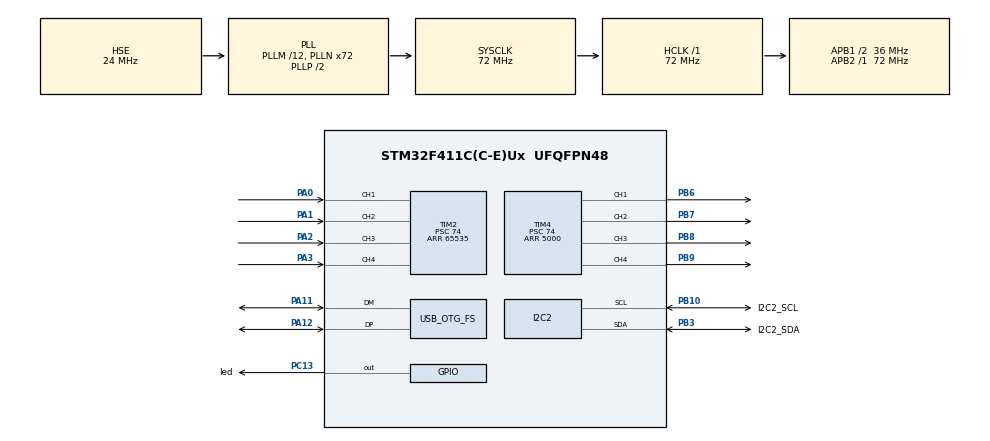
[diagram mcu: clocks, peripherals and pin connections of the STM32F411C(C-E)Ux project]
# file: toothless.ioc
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I2C2.I2C_Mode=I2C_Fast
Mcu.Family=STM32F4
Mcu.Name=STM32F411C(C-E)Ux
Mcu.Package=UFQFPN48
NVIC.OTG_FS_IRQn=true\:0\:0\:false\:false\:true\:false\:true
NVIC.PriorityGroup=NVIC_PRIORITYGROUP_4
NVIC.TIM2_IRQn=true\:0\:0\:false\:false\:true\:true\:true
PA0-WKUP.Signal=S_TIM2_CH1_ETR
PA1.Signal=S_TIM2_CH2
PA11.Mode=Device_Only
PA11.Signal=USB_OTG_FS_DM
PA12.Mode=Device_Only
PA12.Signal=USB_OTG_FS_DP
PA2.Signal=S_TIM2_CH3
PA3.Signal=S_TIM2_CH4
PB10.GPIO_Label=I2C2_SCL
PB10.GPIO_Pu=GPIO_PULLUP
PB10.Mode=I2C
PB10.Signal=I2C2_SCL
PB3.GPIO_Label=I2C2_SDA
PB3.GPIO_Pu=GPIO_PULLUP
PB3.Mode=I2C
PB3.Signal=I2C2_SDA
PB6.Signal=S_TIM4_CH1
PB7.Signal=S_TIM4_CH2
PB8.Signal=S_TIM4_CH3
PB9.Signal=S_TIM4_CH4
PC13-ANTI_TAMP.GPIO_Label=led
PC13-ANTI_TAMP.Signal=GPIO_Output
PH0\ -\ OSC_IN.Mode=HSE-External-Oscillator
PH0\ -\ OSC_IN.Signal=RCC_OSC_IN
PH1\ -\ OSC_OUT.Mode=HSE-External-Oscillator
PH1\ -\ OSC_OUT.Signal=RCC_OSC_OUT
ProjectManager.HeapSize=0x200
ProjectManager.StackSize=0x400
ProjectManager.TargetToolchain=STM32CubeIDE
RCC.48MHZClocksFreq_Value=48000000
RCC.AHBFreq_Value=72000000
RCC.APB1CLKDivider=RCC_HCLK_DIV2
RCC.APB1Freq_Value=36000000
RCC.APB1TimFreq_Value=72000000
RCC.APB2Freq_Value=72000000
RCC.APB2TimFreq_Value=72000000
RCC.CortexFreq_Value=72000000
RCC.HCLKFreq_Value=72000000
RCC.HSE_VALUE=24000000
RCC.HSI_VALUE=16000000
RCC.LSE_VALUE=32768
RCC.PLLM=12
RCC.PLLN=72
RCC.PLLQ=3
RCC.SYSCLKFreq_VALUE=72000000
RCC.SYSCLKSource=RCC_SYSCLKSOURCE_PLLCLK
RCC.VCOOutputFreq_Value=144000000
SH.S_TIM2_CH1_ETR.0=TIM2_CH1,Input_Capture1_from_TI1
SH.S_TIM2_CH2.0=TIM2_CH2,Input_Capture2_from_TI2
SH.S_TIM2_CH3.0=TIM2_CH3,Input_Capture3_from_TI3
SH.S_TIM2_CH4.0=TIM2_CH4,Input_Capture4_from_TI4
SH.S_TIM4_CH1.0=TIM4_CH1,PWM Generation1 CH1
SH.S_TIM4_CH2.0=TIM4_CH2,PWM Generation2 CH2
SH.S_TIM4_CH3.0=TIM4_CH3,PWM Generation3 CH3
SH.S_TIM4_CH4.0=TIM4_CH4,PWM Generation4 CH4
TIM2.Channel-Input_Capture1_from_TI1=TIM_CHANNEL_1
TIM2.Channel-Input_Capture2_from_TI2=TIM_CHANNEL_2
TIM2.Channel-Input_Capture3_from_TI3=TIM_CHANNEL_3
TIM2.Channel-Input_Capture4_from_TI4=TIM_CHANNEL_4
TIM2.Period=65535
TIM2.Prescaler=74
TIM2.TIM_MasterOutputTrigger=TIM_TRGO_RESET
TIM4.Channel-PWM\ Generation1\ CH1=TIM_CHANNEL_1
TIM4.Channel-PWM\ Generation2\ CH2=TIM_CHANNEL_2
TIM4.Channel-PWM\ Generation3\ CH3=TIM_CHANNEL_3
TIM4.Channel-PWM\ Generation4\ CH4=TIM_CHANNEL_4
TIM4.Period=5000
TIM4.Prescaler=74
TIM4.Pulse-PWM\ Generation1\ CH1=1000
TIM4.Pulse-PWM\ Generation2\ CH2=1000
TIM4.Pulse-PWM\ Generation3\ CH3=1000
TIM4.Pulse-PWM\ Generation4\ CH4=1000
USB_DEVICE.CLASS_NAME_FS=CDC
USB_DEVICE.VirtualMode=Cdc
USB_DEVICE.VirtualModeFS=Cdc_FS
USB_OTG_FS.VirtualMode=Device_Only
VP_USB_DEVICE_VS_USB_DEVICE_CDC_FS.Mode=CDC_FS
board=custom

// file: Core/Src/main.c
/* USER CODE BEGIN Header */
/**
 ******************************************************************************
 * @file           : main.c
 * @brief          : Main program body
 ******************************************************************************
 * @attention
 *
 * <h2><center>&copy; Copyright (c) 2021 STMicroelectronics.
 * All rights reserved.</center></h2>
 *
 * This software component is licensed by ST under BSD 3-Clause license,
 * the "License"; You may not use this file except in compliance with the
 * License. You may obtain a copy of the License at:
 *                        opensource.org/licenses/BSD-3-Clause
 *
 ******************************************************************************
 */
/* USER CODE END Header */
#include "main.h"
#include "usb_device.h"

/* USER CODE BEGIN Includes */
#include "stdio.h"
#include "usbd_cdc_if.h"
#include "string.h"
#include "mpu6050.h"
#include "math.h"
/* USER CODE END Includes */

I2C_HandleTypeDef hi2c2;

TIM_HandleTypeDef htim2;
TIM_HandleTypeDef htim4;

/* USER CODE BEGIN PV */
const float pid_p_gain_roll = 1.0;               //Gain setting for the pitch and roll P-controller (default = 1.3).
const float pid_i_gain_roll = 0.02;              //Gain setting for the pitch and roll I-controller (default = 0.04).
const float pid_d_gain_roll = 10.0;              //Gain setting for the pitch and roll D-controller (default = 18.0).
const int16_t pid_max_roll = 400;                    //Maximum output of the PID-controller (+/-).

float pid_p_gain_pitch = pid_p_gain_roll;  //Gain setting for the pitch P-controller.
float pid_i_gain_pitch = pid_i_gain_roll;  //Gain setting for the pitch I-controller.
float pid_d_gain_pitch = pid_d_gain_roll;  //Gain setting for the pitch D-controller.
int16_t pid_max_pitch = pid_max_roll;          //Maximum output of the PID-controller (+/-).

float pid_p_gain_yaw = 3.0;                //Gain setting for the pitch P-controller (default = 4.0).
float pid_i_gain_yaw = 0.02;               //Gain setting for the pitch I-controller (default = 0.02).
float pid_d_gain_yaw = 0.0;                //Gain setting for the pitch D-controller (default = 0.0).
int16_t pid_max_yaw = 400;                     //Maximum output of the PID-controller (+/-).

int16_t channel_1_start = 0;
int16_t channel_1 = 0;
uint8_t channel_1_captured = 0;
int16_t channel_2_start = 0;
int16_t channel_2 = 0;
uint8_t channel_2_captured = 0;
int16_t channel_3_start = 0;
int16_t channel_3 = 0;
uint8_t channel_3_captured = 0;
int16_t channel_4_start = 0;
int16_t channel_4 = 0;
uint8_t channel_4_captured = 0;
uint8_t start;

uint32_t loop_timer;
int16_t esc_1, esc_2, esc_3, esc_4;
int16_t throttle;

int32_t acc_total_vector;
float roll_level_adjust, pitch_level_adjust;
float pid_error_temp;
float pid_i_mem_roll, pid_roll_setpoint, gyro_roll_input, pid_output_roll, pid_last_roll_d_error;
float pid_i_mem_pitch, pid_pitch_setpoint, gyro_pitch_input, pid_output_pitch, pid_last_pitch_d_error;
float pid_i_mem_yaw, pid_yaw_setpoint, gyro_yaw_input, pid_output_yaw, pid_last_yaw_d_error;
float angle_roll_acc, angle_pitch_acc, angle_pitch, angle_roll;
float battery_voltage;
/* USER CODE END PV */

void SystemClock_Config(void);
static void MX_GPIO_Init(void);
static void MX_I2C2_Init(void);
static void MX_TIM2_Init(void);
static void MX_TIM4_Init(void);

/* USER CODE BEGIN 0 */
uint32_t micros(void) {
	uint32_t m0 = HAL_GetTick();
	uint32_t u0 = SysTick->LOAD - SysTick->VAL;
	uint32_t m1 = HAL_GetTick();
	uint32_t u1 = SysTick->LOAD - SysTick->VAL;
	if (m1 > m0) {
		return ( m1 * 1000 + (u1 * 1000) / SysTick->LOAD);
	} else {
		return ( m0 * 1000 + (u0 * 1000) / SysTick->LOAD);
	}
}

int _write(int file, char *ptr, int len) {
	CDC_Transmit_FS((uint8_t*) ptr, len); return len;
}

void calculate_pid(void){
	//Roll calculations
	pid_error_temp = gyro_roll_input - pid_roll_setpoint;
	pid_i_mem_roll += pid_i_gain_roll * pid_error_temp;
	if(pid_i_mem_roll > pid_max_roll)pid_i_mem_roll = pid_max_roll;
	else if(pid_i_mem_roll < pid_max_roll * -1)pid_i_mem_roll = pid_max_roll * -1;

	pid_output_roll = pid_p_gain_roll * pid_error_temp + pid_i_mem_roll + pid_d_gain_roll * (pid_error_temp - pid_last_roll_d_error);
	if(pid_output_roll > pid_max_roll)pid_output_roll = pid_max_roll;
	else if(pid_output_roll < pid_max_roll * -1)pid_output_roll = pid_max_roll * -1;

	pid_last_roll_d_error = pid_error_temp;

	//Pitch calculations
	pid_error_temp = gyro_pitch_input - pid_pitch_setpoint;
	pid_i_mem_pitch += pid_i_gain_pitch * pid_error_temp;
	if(pid_i_mem_pitch > pid_max_pitch)pid_i_mem_pitch = pid_max_pitch;
	else if(pid_i_mem_pitch < pid_max_pitch * -1)pid_i_mem_pitch = pid_max_pitch * -1;

	pid_output_pitch = pid_p_gain_pitch * pid_error_temp + pid_i_mem_pitch + pid_d_gain_pitch * (pid_error_temp - pid_last_pitch_d_error);
	if(pid_output_pitch > pid_max_pitch)pid_output_pitch = pid_max_pitch;
	else if(pid_output_pitch < pid_max_pitch * -1)pid_output_pitch = pid_max_pitch * -1;

	pid_last_pitch_d_error = pid_error_temp;

	//Yaw calculations
	pid_error_temp = gyro_yaw_input - pid_yaw_setpoint;
	pid_i_mem_yaw += pid_i_gain_yaw * pid_error_temp;
	if(pid_i_mem_yaw > pid_max_yaw)pid_i_mem_yaw = pid_max_yaw;
	else if(pid_i_mem_yaw < pid_max_yaw * -1)pid_i_mem_yaw = pid_max_yaw * -1;

	pid_output_yaw = pid_p_gain_yaw * pid_error_temp + pid_i_mem_yaw + pid_d_gain_yaw * (pid_error_temp - pid_last_yaw_d_error);
	if(pid_output_yaw > pid_max_yaw)pid_output_yaw = pid_max_yaw;
	else if(pid_output_yaw < pid_max_yaw * -1)pid_output_yaw = pid_max_yaw * -1;

	pid_last_yaw_d_error = pid_error_temp;
}

/* USER CODE END 0 */

int main(void)
{

  /* MCU Configuration--------------------------------------------------------*/

  /* Reset of all peripherals, Initializes the Flash interface and the Systick. */
  HAL_Init();

  /* Configure the system clock */
  SystemClock_Config();

  /* Initialize all configured peripherals */
  MX_GPIO_Init();
  MX_I2C2_Init();
  MX_TIM2_Init();
  MX_TIM4_Init();
  MX_USB_DEVICE_Init();
  /* USER CODE BEGIN 2 */
	HAL_TIM_IC_Start_IT(&htim2, TIM_CHANNEL_1);
	HAL_TIM_IC_Start_IT(&htim2, TIM_CHANNEL_2);
	HAL_TIM_IC_Start_IT(&htim2, TIM_CHANNEL_3);
	HAL_TIM_IC_Start_IT(&htim2, TIM_CHANNEL_4);

	HAL_TIM_PWM_Start(&htim4, TIM_CHANNEL_1);
	HAL_TIM_PWM_Start(&htim4, TIM_CHANNEL_2);
	HAL_TIM_PWM_Start(&htim4, TIM_CHANNEL_3);
	HAL_TIM_PWM_Start(&htim4, TIM_CHANNEL_4);

	HAL_Delay(5000);
	gyro_setup(&hi2c2);
	HAL_GPIO_WritePin(led_GPIO_Port, led_Pin, GPIO_PIN_RESET);

	loop_timer = micros();
  /* USER CODE END 2 */

  /* Infinite loop */
  /* USER CODE BEGIN WHILE */
	while (1) {
		//printf("channel_1 = %d", channel_1);
		//printf(" channel_2 = %d", channel_2);
		//printf(" channel_3 = %d", channel_3);
		//printf(" channel_4 = %d\n", channel_4);
		gyro_read(&hi2c2);

		//65.5 = 1 deg/sec (check the datasheet of the MPU-6050 for more information).
		gyro_roll_input = (gyro_roll_input * 0.7) + (((float)gyro_roll / 65.5) * 0.3);   //Gyro pid input is deg/sec.
		gyro_pitch_input = (gyro_pitch_input * 0.7) + (((float)gyro_pitch / 65.5) * 0.3);//Gyro pid input is deg/sec.
		gyro_yaw_input = (gyro_yaw_input * 0.7) + (((float)gyro_yaw / 65.5) * 0.3);      //Gyro pid input is deg/sec.

		//Gyro angle calculations
		//0.0000611 = 1 / (250Hz / 65.5)
		angle_pitch += (float)gyro_pitch * 0.0000611;                                    //Calculate the traveled pitch angle and add this to the angle_pitch variable.
		angle_roll += (float)gyro_roll * 0.0000611;                                      //Calculate the traveled roll angle and add this to the angle_roll variable.

		//0.000001066 = 0.0000611 * (3.142(PI) / 180degr) The Arduino sin function is in radians and not degrees.
		angle_pitch -= angle_roll * sin((float)gyro_yaw * 0.000001066);                  //If the IMU has yawed transfer the roll angle to the pitch angel.
		angle_roll += angle_pitch * sin((float)gyro_yaw * 0.000001066);                  //If the IMU has yawed transfer the pitch angle to the roll angel.

		//Accelerometer angle calculations
		acc_total_vector = sqrt((acc_x * acc_x) + (acc_y * acc_y) + (acc_z * acc_z));    //Calculate the total accelerometer vector.

		if (abs(acc_y) < acc_total_vector) {                                             //Prevent the asin function to produce a NaN.
			angle_pitch_acc = asin((float)acc_y / acc_total_vector) * 57.296;              //Calculate the pitch angle.
		}
		if (abs(acc_x) < acc_total_vector) {                                             //Prevent the asin function to produce a NaN.
			angle_roll_acc = asin((float)acc_x / acc_total_vector) * 57.296;               //Calculate the roll angle.
		}

		//Place the MPU-6050 spirit level and note the values in the following two lines for calibration.
		angle_pitch_acc -= 1.01; 														 //Accelerometer calibration value for pitch.
		angle_roll_acc -= 2.11;    														 //Accelerometer calibration value for roll.

		angle_pitch = angle_pitch * 0.9996 + angle_pitch_acc * 0.0004;                   //Correct the drift of the gyro pitch angle with the accelerometer pitch angle.
		angle_roll = angle_roll * 0.9996 + angle_roll_acc * 0.0004;                      //Correct the drift of the gyro roll angle with the accelerometer roll angle.

		pitch_level_adjust = angle_pitch * 15;                                           //Calculate the pitch angle correction.
		roll_level_adjust = angle_roll * 15;                                             //Calculate the roll angle correction.

		//printf("Pitch: %f  ",angle_pitch);
		//printf("Roll : %f\n", angle_roll);

		//For starting the motors: throttle low and yaw left (step 1).
		if (channel_3 < 1050 && channel_4 < 1050)start = 1;
		//When yaw stick is back in the center position start the motors (step 2).
		if (start == 1 && channel_3 < 1050 && channel_4 > 1450) {
			start = 2;
			HAL_GPIO_WritePin(led_GPIO_Port, led_Pin, GPIO_PIN_SET);

			angle_pitch = angle_pitch_acc;                                                 //Set the gyro pitch angle equal to the accelerometer pitch angle when the quadcopter is started.
			angle_roll = angle_roll_acc;                                                   //Set the gyro roll angle equal to the accelerometer roll angle when the quadcopter is started.

			//Reset the PID controllers for a bumpless start.
			pid_i_mem_roll = 0;
			pid_last_roll_d_error = 0;
			pid_i_mem_pitch = 0;
			pid_last_pitch_d_error = 0;
			pid_i_mem_yaw = 0;
			pid_last_yaw_d_error = 0;
		}
		//Stopping the motors: throttle low and yaw right.
		if (start == 2 && channel_3 < 1050 && channel_4 > 1950) {
			start = 0;
			HAL_GPIO_WritePin(led_GPIO_Port, led_Pin, GPIO_PIN_RESET);
		}

		//The PID set point in degrees per second is determined by the roll receiver input.
		//In the case of deviding by 3 the max roll rate is aprox 164 degrees per second ( (500-8)/3 = 164d/s ).
		pid_roll_setpoint = 0;
		//We need a little dead band of 16us for better results.
		if (channel_1 > 1508)pid_roll_setpoint = channel_1 - 1508;
		else if (channel_1 < 1492)pid_roll_setpoint = channel_1 - 1492;

		pid_roll_setpoint -= roll_level_adjust;                                          //Subtract the angle correction from the standardized receiver roll input value.
		pid_roll_setpoint /= 3.0;                                                        //Divide the setpoint for the PID roll controller by 3 to get angles in degrees.

		//The PID set point in degrees per second is determined by the pitch receiver input.
		//In the case of deviding by 3 the max pitch rate is aprox 164 degrees per second ( (500-8)/3 = 164d/s ).
		pid_pitch_setpoint = 0;
		//We need a little dead band of 16us for better results.
		if (channel_2 > 1508)pid_pitch_setpoint = channel_2 - 1508;
		else if (channel_2 < 1492)pid_pitch_setpoint = channel_2 - 1492;

		pid_pitch_setpoint -= pitch_level_adjust;                                        //Subtract the angle correction from the standardized receiver pitch input value.
		pid_pitch_setpoint /= 3.0;                                                       //Divide the setpoint for the PID pitch controller by 3 to get angles in degrees.

		//The PID set point in degrees per second is determined by the yaw receiver input.
		//In the case of deviding by 3 the max yaw rate is aprox 164 degrees per second ( (500-8)/3 = 164d/s ).
		pid_yaw_setpoint = 0;
		//We need a little dead band of 16us for better results.
		if (channel_3 > 1050) { //Do not yaw when turning off the motors.
			if (channel_4 > 1508)pid_yaw_setpoint = (channel_4 - 1508) / 3.0;
			else if (channel_4 < 1492)pid_yaw_setpoint = (channel_4 - 1492) / 3.0;
		}

		calculate_pid();                                                                 //PID inputs are known. So we can calculate the pid output.

		//The battery voltage is needed for compensation.
		//A complementary filter is used to reduce noise.
		//1410.1 = 112.81 / 0.08.
		//battery_voltage = battery_voltage * 0.92 + ((float)HAL_ADC_GetValue(&hadc1)/ 1410.1);

		//Turn on the led if battery voltage is to low. In this case under 10.0V
		//if (battery_voltage < 10.0 && error == 0)//TODO:Vishal

		throttle = channel_3;                                                            //We need the throttle signal as a base signal.

		if (start == 2) {                                                                //The motors are started.
			if (throttle > 1800) throttle = 1800;                                          //We need some room to keep full control at full throttle.

			//printf("throttle = %d\n", throttle);

			esc_1 = throttle - pid_output_pitch + pid_output_roll - pid_output_yaw;        //Calculate the pulse for esc 1 (front-right - CCW).
			esc_2 = throttle + pid_output_pitch + pid_output_roll + pid_output_yaw;        //Calculate the pulse for esc 2 (rear-right - CW).
			esc_3 = throttle + pid_output_pitch - pid_output_roll - pid_output_yaw;        //Calculate the pulse for esc 3 (rear-left - CCW).
			esc_4 = throttle - pid_output_pitch - pid_output_roll + pid_output_yaw;        //Calculate the pulse for esc 4 (front-left - CW).

			if (esc_1 < 1100) esc_1 = 1100;                                                //Keep the motors running.
			if (esc_2 < 1100) esc_2 = 1100;                                                //Keep the motors running.
			if (esc_3 < 1100) esc_3 = 1100;                                                //Keep the motors running.
			if (esc_4 < 1100) esc_4 = 1100;                                                //Keep the motors running.

			if (esc_1 > 2000)esc_1 = 2000;                                                 //Limit the esc-1 pulse to 2000us.
			if (esc_2 > 2000)esc_2 = 2000;                                                 //Limit the esc-2 pulse to 2000us.
			if (esc_3 > 2000)esc_3 = 2000;                                                 //Limit the esc-3 pulse to 2000us.
			if (esc_4 > 2000)esc_4 = 2000;                                                 //Limit the esc-4 pulse to 2000us.
		}
		else {
			esc_1 = 1000;                                                                  //If start is not 2 keep a 1000us pulse for ess-1.
			esc_2 = 1000;                                                                  //If start is not 2 keep a 1000us pulse for ess-2.
			esc_3 = 1000;                                                                  //If start is not 2 keep a 1000us pulse for ess-3.
			esc_4 = 1000;                                                                  //If start is not 2 keep a 1000us pulse for ess-4.
		}

		htim4.Instance->CCR1 = esc_1;
		htim4.Instance->CCR2 = esc_2;
		htim4.Instance->CCR3 = esc_3;
		htim4.Instance->CCR4 = esc_4;
		htim4.Instance->CNT = 5000;

		//printf("esc1 = %d", esc_1);
		//printf(" esc2 = %d", esc_2);
		//printf(" esc3 = %d", esc_3);
		//printf(" esc4 = %d\n", esc_4);

    /* USER CODE END WHILE */

    /* USER CODE BEGIN 3 */

		if (micros() - loop_timer > 4215){
			HAL_GPIO_WritePin(led_GPIO_Port, led_Pin, GPIO_PIN_RESET);
		}
		while (micros() - loop_timer < 4165);
		//int lt = micros() - loop_timer;
		loop_timer = micros();
		//printf("%d\n", lt);
	}
  /* USER CODE END 3 */
}

void SystemClock_Config(void)
{
  RCC_OscInitTypeDef RCC_OscInitStruct = {0};
  RCC_ClkInitTypeDef RCC_ClkInitStruct = {0};

  /** Configure the main internal regulator output voltage
  */
  __HAL_RCC_PWR_CLK_ENABLE();
  __HAL_PWR_VOLTAGESCALING_CONFIG(PWR_REGULATOR_VOLTAGE_SCALE1);
  /** Initializes the RCC Oscillators according to the specified parameters
  * in the RCC_OscInitTypeDef structure.
  */
  RCC_OscInitStruct.OscillatorType = RCC_OSCILLATORTYPE_HSE;
  RCC_OscInitStruct.HSEState = RCC_HSE_ON;
  RCC_OscInitStruct.PLL.PLLState = RCC_PLL_ON;
  RCC_OscInitStruct.PLL.PLLSource = RCC_PLLSOURCE_HSE;
  RCC_OscInitStruct.PLL.PLLM = 12;
  RCC_OscInitStruct.PLL.PLLN = 72;
  RCC_OscInitStruct.PLL.PLLP = RCC_PLLP_DIV2;
  RCC_OscInitStruct.PLL.PLLQ = 3;
  if (HAL_RCC_OscConfig(&RCC_OscInitStruct) != HAL_OK)
  {
    Error_Handler();
  }
  /** Initializes the CPU, AHB and APB buses clocks
  */
  RCC_ClkInitStruct.ClockType = RCC_CLOCKTYPE_HCLK|RCC_CLOCKTYPE_SYSCLK
                              |RCC_CLOCKTYPE_PCLK1|RCC_CLOCKTYPE_PCLK2;
  RCC_ClkInitStruct.SYSCLKSource = RCC_SYSCLKSOURCE_PLLCLK;
  RCC_ClkInitStruct.AHBCLKDivider = RCC_SYSCLK_DIV1;
  RCC_ClkInitStruct.APB1CLKDivider = RCC_HCLK_DIV2;
  RCC_ClkInitStruct.APB2CLKDivider = RCC_HCLK_DIV1;

  if (HAL_RCC_ClockConfig(&RCC_ClkInitStruct, FLASH_LATENCY_2) != HAL_OK)
  {
    Error_Handler();
  }
}

static void MX_I2C2_Init(void)
{

  hi2c2.Instance = I2C2;
  hi2c2.Init.ClockSpeed = 400000;
  hi2c2.Init.DutyCycle = I2C_DUTYCYCLE_2;
  hi2c2.Init.OwnAddress1 = 0;
  hi2c2.Init.AddressingMode = I2C_ADDRESSINGMODE_7BIT;
  hi2c2.Init.DualAddressMode = I2C_DUALADDRESS_DISABLE;
  hi2c2.Init.OwnAddress2 = 0;
  hi2c2.Init.GeneralCallMode = I2C_GENERALCALL_DISABLE;
  hi2c2.Init.NoStretchMode = I2C_NOSTRETCH_DISABLE;
  if (HAL_I2C_Init(&hi2c2) != HAL_OK)
  {
    Error_Handler();
  }

}

static void MX_TIM2_Init(void)
{

  TIM_MasterConfigTypeDef sMasterConfig = {0};
  TIM_IC_InitTypeDef sConfigIC = {0};

  htim2.Instance = TIM2;
  htim2.Init.Prescaler = 74;
  htim2.Init.CounterMode = TIM_COUNTERMODE_UP;
  htim2.Init.Period = 65535;
  htim2.Init.ClockDivision = TIM_CLOCKDIVISION_DIV1;
  htim2.Init.AutoReloadPreload = TIM_AUTORELOAD_PRELOAD_DISABLE;
  if (HAL_TIM_IC_Init(&htim2) != HAL_OK)
  {
    Error_Handler();
  }
  sMasterConfig.MasterOutputTrigger = TIM_TRGO_RESET;
  sMasterConfig.MasterSlaveMode = TIM_MASTERSLAVEMODE_DISABLE;
  if (HAL_TIMEx_MasterConfigSynchronization(&htim2, &sMasterConfig) != HAL_OK)
  {
    Error_Handler();
  }
  sConfigIC.ICPolarity = TIM_INPUTCHANNELPOLARITY_RISING;
  sConfigIC.ICSelection = TIM_ICSELECTION_DIRECTTI;
  sConfigIC.ICPrescaler = TIM_ICPSC_DIV1;
  sConfigIC.ICFilter = 0;
  if (HAL_TIM_IC_ConfigChannel(&htim2, &sConfigIC, TIM_CHANNEL_1) != HAL_OK)
  {
    Error_Handler();
  }
  if (HAL_TIM_IC_ConfigChannel(&htim2, &sConfigIC, TIM_CHANNEL_2) != HAL_OK)
  {
    Error_Handler();
  }
  if (HAL_TIM_IC_ConfigChannel(&htim2, &sConfigIC, TIM_CHANNEL_3) != HAL_OK)
  {
    Error_Handler();
  }
  if (HAL_TIM_IC_ConfigChannel(&htim2, &sConfigIC, TIM_CHANNEL_4) != HAL_OK)
  {
    Error_Handler();
  }

}

static void MX_TIM4_Init(void)
{

  TIM_MasterConfigTypeDef sMasterConfig = {0};
  TIM_OC_InitTypeDef sConfigOC = {0};

  htim4.Instance = TIM4;
  htim4.Init.Prescaler = 74;
  htim4.Init.CounterMode = TIM_COUNTERMODE_UP;
  htim4.Init.Period = 5000;
  htim4.Init.ClockDivision = TIM_CLOCKDIVISION_DIV1;
  htim4.Init.AutoReloadPreload = TIM_AUTORELOAD_PRELOAD_DISABLE;
  if (HAL_TIM_PWM_Init(&htim4) != HAL_OK)
  {
    Error_Handler();
  }
  sMasterConfig.MasterOutputTrigger = TIM_TRGO_RESET;
  sMasterConfig.MasterSlaveMode = TIM_MASTERSLAVEMODE_DISABLE;
  if (HAL_TIMEx_MasterConfigSynchronization(&htim4, &sMasterConfig) != HAL_OK)
  {
    Error_Handler();
  }
  sConfigOC.OCMode = TIM_OCMODE_PWM1;
  sConfigOC.Pulse = 1000;
  sConfigOC.OCPolarity = TIM_OCPOLARITY_HIGH;
  sConfigOC.OCFastMode = TIM_OCFAST_DISABLE;
  if (HAL_TIM_PWM_ConfigChannel(&htim4, &sConfigOC, TIM_CHANNEL_1) != HAL_OK)
  {
    Error_Handler();
  }
  if (HAL_TIM_PWM_ConfigChannel(&htim4, &sConfigOC, TIM_CHANNEL_2) != HAL_OK)
  {
    Error_Handler();
  }
  if (HAL_TIM_PWM_ConfigChannel(&htim4, &sConfigOC, TIM_CHANNEL_3) != HAL_OK)
  {
    Error_Handler();
  }
  if (HAL_TIM_PWM_ConfigChannel(&htim4, &sConfigOC, TIM_CHANNEL_4) != HAL_OK)
  {
    Error_Handler();
  }
  HAL_TIM_MspPostInit(&htim4);

}

static void MX_GPIO_Init(void)
{
  GPIO_InitTypeDef GPIO_InitStruct = {0};

  /* GPIO Ports Clock Enable */
  __HAL_RCC_GPIOC_CLK_ENABLE();
  __HAL_RCC_GPIOH_CLK_ENABLE();
  __HAL_RCC_GPIOA_CLK_ENABLE();
  __HAL_RCC_GPIOB_CLK_ENABLE();

  /*Configure GPIO pin Output Level */
  HAL_GPIO_WritePin(led_GPIO_Port, led_Pin, GPIO_PIN_RESET);

  /*Configure GPIO pin : led_Pin */
  GPIO_InitStruct.Pin = led_Pin;
  GPIO_InitStruct.Mode = GPIO_MODE_OUTPUT_PP;
  GPIO_InitStruct.Pull = GPIO_NOPULL;
  GPIO_InitStruct.Speed = GPIO_SPEED_FREQ_LOW;
  HAL_GPIO_Init(led_GPIO_Port, &GPIO_InitStruct);

}

/* USER CODE BEGIN 4 */
//uint32_t MAP(uint32_t au32_IN, uint32_t au32_INmin, uint32_t au32_INmax, uint32_t au32_OUTmin, uint32_t au32_OUTmax)
//{
//    return ((((au32_IN - au32_INmin)*(au32_OUTmax - au32_OUTmin))/(au32_INmax - au32_INmin)) + au32_OUTmin);
//}
void HAL_TIM_IC_CaptureCallback(TIM_HandleTypeDef *htim) {
	if (htim2.Instance == htim->Instance) {
		if (htim->Channel == HAL_TIM_ACTIVE_CHANNEL_1) {
			if (channel_1_captured == 0) {
				channel_1_start = HAL_TIM_ReadCapturedValue(htim,TIM_CHANNEL_1);
				channel_1_captured = 1;
				__HAL_TIM_SET_CAPTUREPOLARITY(htim, TIM_CHANNEL_1,TIM_INPUTCHANNELPOLARITY_FALLING);
			} else if (channel_1_captured == 1) {
				channel_1 = HAL_TIM_ReadCapturedValue(htim, TIM_CHANNEL_1) - channel_1_start;
				channel_1_captured = 0;
				if (channel_1 < 0)
					channel_1 += 0xFFFF;
				__HAL_TIM_SET_CAPTUREPOLARITY(htim, TIM_CHANNEL_1,TIM_INPUTCHANNELPOLARITY_RISING);
			}
		}
		else if (htim->Channel == HAL_TIM_ACTIVE_CHANNEL_2) {
			if (channel_2_captured == 0) {
				channel_2_start = HAL_TIM_ReadCapturedValue(htim,TIM_CHANNEL_2);
				channel_2_captured = 1;
				__HAL_TIM_SET_CAPTUREPOLARITY(htim, TIM_CHANNEL_2,TIM_INPUTCHANNELPOLARITY_FALLING);
			} else if (channel_2_captured == 1) {
				channel_2 = HAL_TIM_ReadCapturedValue(htim, TIM_CHANNEL_2) - channel_2_start;
				channel_2_captured = 0;
				if (channel_2 < 0)
					channel_2 += 0xFFFF;
				__HAL_TIM_SET_CAPTUREPOLARITY(htim, TIM_CHANNEL_2,TIM_INPUTCHANNELPOLARITY_RISING);
			}
		}
		else if (htim->Channel == HAL_TIM_ACTIVE_CHANNEL_3) {
			if (channel_3_captured == 0) {
				channel_3_start = (int16_t)HAL_TIM_ReadCapturedValue(htim,TIM_CHANNEL_3);
				channel_3_captured = 1;
				__HAL_TIM_SET_CAPTUREPOLARITY(htim, TIM_CHANNEL_3,TIM_INPUTCHANNELPOLARITY_FALLING);
			} else if (channel_3_captured == 1) {
				channel_3 = (int16_t)HAL_TIM_ReadCapturedValue(htim, TIM_CHANNEL_3) - channel_3_start;
				channel_3_captured = 0;
				if (channel_3 < 0)
					channel_3 += 0xFFFF;
				__HAL_TIM_SET_CAPTUREPOLARITY(htim, TIM_CHANNEL_3,TIM_INPUTCHANNELPOLARITY_RISING);
			}
		}
		else if (htim->Channel == HAL_TIM_ACTIVE_CHANNEL_4) {
			if (channel_4_captured == 0) {
				channel_4_start = HAL_TIM_ReadCapturedValue(htim,TIM_CHANNEL_4);
				channel_4_captured = 1;
				__HAL_TIM_SET_CAPTUREPOLARITY(htim, TIM_CHANNEL_4,TIM_INPUTCHANNELPOLARITY_FALLING);
			} else if (channel_4_captured == 1) {
				channel_4 = HAL_TIM_ReadCapturedValue(htim, TIM_CHANNEL_4) - channel_4_start;
				channel_4_captured = 0;
				if (channel_4 < 0)
					channel_4 += 0xFFFF;
				__HAL_TIM_SET_CAPTUREPOLARITY(htim, TIM_CHANNEL_4,TIM_INPUTCHANNELPOLARITY_RISING);
			}
		}
	}
}
/* USER CODE END 4 */

void Error_Handler(void)
{
  /* USER CODE BEGIN Error_Handler_Debug */
	/* User can add his own implementation to report the HAL error return state */
	//__disable_irq();
	while (1) {
		HAL_GPIO_TogglePin(led_GPIO_Port, led_Pin);
		HAL_Delay(1000);
	}
  /* USER CODE END Error_Handler_Debug */
}

/************************ (C) COPYRIGHT STMicroelectronics *****END OF FILE****/
